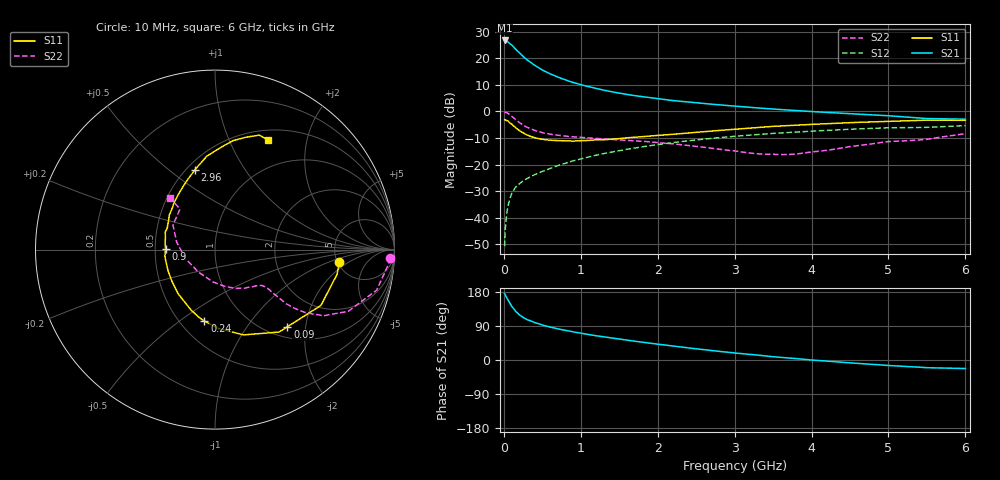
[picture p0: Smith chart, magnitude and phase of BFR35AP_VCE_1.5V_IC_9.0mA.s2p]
! Infineon Technologies  Discrete & RF Semiconductors
! BFR35AP
! VCE =  1.5 V,  IC =  9.0 mA
! Common Emitter S-Parameters:  Nov 2015
# GHz  S  MA  R  50
!  f  S11  S21  S12  S22
! GHz  MAG  ANG  MAG  ANG  MAG  ANG  MAG  ANG
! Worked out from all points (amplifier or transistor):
!   210 points, 10 MHz to 6 GHz, reference 50 ohm
!   highest |S21| = 26.7 dB at 10 MHz (marker M1)
!   |S21| within 3 dB of that: start of sweep to 143.7 MHz
!   unconditionally stable (mu >= 1): 540.5 MHz to 4.323 GHz; 5.217 GHz to end of sweep
!   at 185 MHz: K = 0.55, MSG = 25.1 dB, |S12| = -27.7 dB
!   at 1.52 GHz: K = 1.14, MAG = 8.5 dB, |S12| = -14.7 dB
!   at 6 GHz: K = 1.00, MAG = 1.2 dB, |S12| = -5.4 dB
!   S11 on the Smith chart (normalised r, x): 10 MHz: 5.19, -1.42; 90 MHz: 1.21, -1.59; 240 MHz: 0.65, -0.62; 900 MHz: 0.57, +0.00; 2.96 GHz: 0.55, +0.62; 6 GHz: 0.62, +1.41
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0.01  0.6967 -5.8  21.65 175.7  0.0029 83.7  0.9772 -2.8
0.02  0.6938 -11.5  21.28 171.2  0.0063 81.4  0.9646 -5.8
0.05  0.6671 -27.8  20.57 159.3  0.0154 76.7  0.9284 -14.1
0.09  0.5897 -46.8  18.33 145.9  0.0254 68.8  0.838 -22.4
0.1  0.5819 -52.1  17.95 142.1  0.0279 67.7  0.8186 -24.8
0.15  0.5011 -71.5  15.01 128.8  0.037 62.0  0.7089 -31.3
0.2  0.4391 -87.7  12.74 119.5  0.0432 59.4  0.6198 -34.7
0.24  0.4025 -98.4  11.21 113.8  0.0478 58.7  0.5643 -36.1
0.26  0.3879 -103.3  10.55 111.1  0.0499 58.6  0.541 -36.6
0.3  0.3613 -111.9  9.374 106.7  0.0541 58.4  0.5032 -37.2
0.4  0.3211 -129.4  7.378 98.8  0.0645 59.2  0.4388 -37.1
0.5  0.2981 -143.5  6.011 92.0  0.0739 60.1  0.3968 -36.7
0.7  0.2821 -164.6  4.43 82.2  0.095 61.5  0.3554 -36.5
0.9  0.2757 179.4  3.5 74.2  0.117 61.4  0.3318 -37.3
1.02  0.2814 171.0  3.127 70.1  0.1296 61.1  0.3222 -38.3
1.4  0.3008 150.6  2.339 58.1  0.1713 58.8  0.2978 -43.7
2.02  0.3544 128.1  1.717 41.2  0.2391 52.6  0.2569 -56.8
2.96  0.4564 104.4  1.271 19.4  0.3364 40.7  0.1828 -91.5
3.1  0.4725 101.8  1.224 16.7  0.3488 38.7  0.1714 -99.3
4.1  0.5779 85.6  0.974 -1.4  0.4323 25.2  0.1778 -169.9
5.1  0.656 73.3  0.808 -15.6  0.4923 11.4  0.2741 145.7
6  0.6794 64.1  0.713 -22.5  0.5398 1.6  0.3796 130.9
